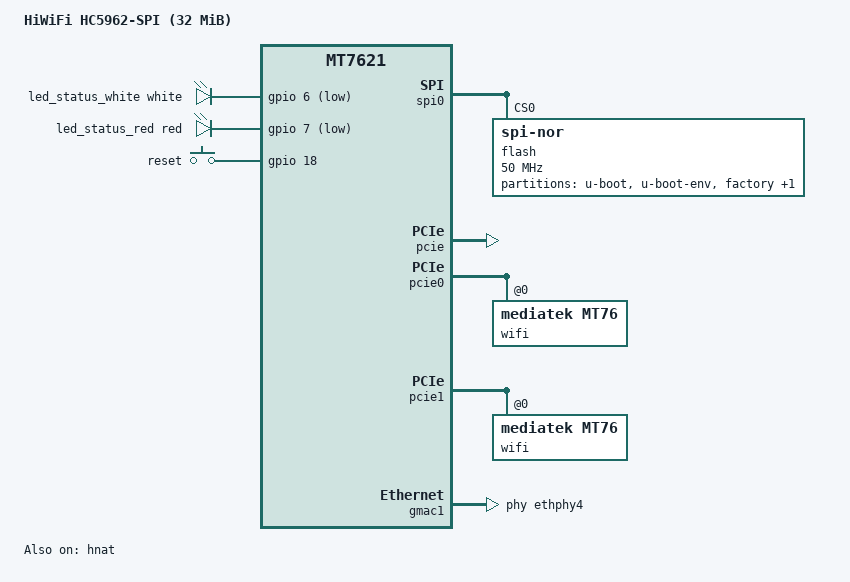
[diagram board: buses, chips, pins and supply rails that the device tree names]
/*
 * HC5962 SPI 32 MiB: modern Linux 6.18 hardware description.
 * The common DTS and board wiring come from the previously boot-tested
 * OpenWrt 5700101d7c85381889d890dc1d3d001d0b4b6446 SPI port.
 * The SDK HNAT node is an added integration and still needs runtime testing.
 */

#include "mt7621-hc5962-6.18.dtsi"

#include <dt-bindings/gpio/gpio.h>
#include <dt-bindings/input/input.h>
#include <dt-bindings/leds/common.h>

/ {
	compatible = "hiwifi,hc5962-spi", "mediatek,mt7621-soc";
	model = "HiWiFi HC5962-SPI (32 MiB)";

	aliases {
		label-mac-device = &gmac0;
		led-boot = &led_status_red;
		led-failsafe = &led_status_red;
		led-running = &led_status_white;
		led-upgrade = &led_status_white;
	};

	chosen {
		bootargs = "console=ttyS0,115200";
	};

	leds {
		compatible = "gpio-leds";

		led_status_white: led-0 {
			color = <LED_COLOR_ID_WHITE>;
			function = LED_FUNCTION_STATUS;
			gpios = <&gpio 6 GPIO_ACTIVE_LOW>;
		};

		led_status_red: led-1 {
			color = <LED_COLOR_ID_RED>;
			function = LED_FUNCTION_STATUS;
			gpios = <&gpio 7 GPIO_ACTIVE_LOW>;
			panic-indicator;
		};
	};

	keys {
		compatible = "gpio-keys";

		reset {
			label = "reset";
			gpios = <&gpio 18 GPIO_ACTIVE_HIGH>;
			linux,code = <KEY_RESTART>;
		};
	};
	/* LAN uses GMAC0 via DSA; PHY4 WAN is directly attached to GMAC1. */
	hnat: hnat@1e100000 {
		compatible = "mediatek,mtk-hnat_v1";
		reg = <0x1e100000 0x3000>;
		mtketh-wan = "wan";
		mtketh-lan = "lan";
		mtketh-ppd = "eth0";
		mtketh-max-gmac = <2>;
		ext-devices = "wlan0", "wlan1", "phy0-ap0", "phy1-ap0";
		status = "okay";
	};

};

&nand {
	status = "disabled";
};

&spi0 {
	status = "okay";

	flash@0 {
		compatible = "jedec,spi-nor";
		reg = <0>;
		spi-max-frequency = <50000000>;
		broken-flash-reset;

		partitions {
			compatible = "fixed-partitions";
			#address-cells = <1>;
			#size-cells = <1>;

			partition@0 {
				label = "u-boot";
				reg = <0x0 0x30000>;
				read-only;
			};

			partition@30000 {
				label = "u-boot-env";
				reg = <0x30000 0x10000>;
				read-only;
			};

			partition@40000 {
				label = "factory";
				reg = <0x40000 0x10000>;
				read-only;

				nvmem-layout {
					compatible = "fixed-layout";
					#address-cells = <1>;
					#size-cells = <1>;

					eeprom_factory_0: eeprom@0 {
						reg = <0x0 0x400>;
					};

					eeprom_factory_8000: eeprom@8000 {
						reg = <0x8000 0x200>;
					};

					macaddr_factory_e000: macaddr@e000 {
						reg = <0xe000 0x6>;
					};

					macaddr_factory_e006: macaddr@e006 {
						reg = <0xe006 0x6>;
					};
				};
			};

			partition@50000 {
				compatible = "denx,uimage";
				label = "firmware";
				reg = <0x50000 0x1fb0000>;
			};
		};
	};
};

&pcie {
	status = "okay";
};

&pcie0 {
	wifi@0,0 {
		compatible = "mediatek,mt76";
		reg = <0x0000 0 0 0 0>;
		nvmem-cells = <&eeprom_factory_0>;
		nvmem-cell-names = "eeprom";
		ieee80211-freq-limit = <2400000 2500000>;
	};
};

&pcie1 {
	wifi@0,0 {
		compatible = "mediatek,mt76";
		reg = <0x0000 0 0 0 0>;
		nvmem-cells = <&eeprom_factory_8000>;
		nvmem-cell-names = "eeprom";
		ieee80211-freq-limit = <5000000 6000000>;
	};
};

&gmac0 {
	nvmem-cells = <&macaddr_factory_e000>;
	nvmem-cell-names = "mac-address";
};

&gmac1 {
	status = "okay";
	label = "wan";
	phy-handle = <&ethphy4>;

	nvmem-cells = <&macaddr_factory_e006>;
	nvmem-cell-names = "mac-address";
};

&ethphy4 {
	/delete-property/ interrupts;
};

&switch0 {
	ports {
		port@1 {
			status = "okay";
			label = "lan1";
		};

		port@2 {
			status = "okay";
			label = "lan2";
		};

		port@3 {
			status = "okay";
			label = "lan3";
		};
	};
};

&state_default {
	gpio {
		groups = "uart3", "jtag";
		function = "gpio";
	};
};
